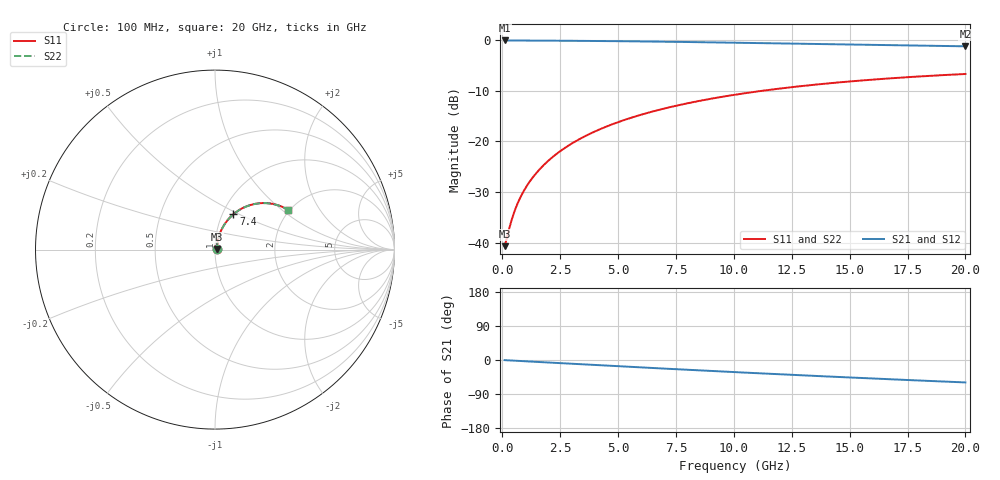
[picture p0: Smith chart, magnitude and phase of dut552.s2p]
! Touchstone file exported from HFSS 2026.1.0
!  File:  C:/ffzhzh/LocalFiles/Ansys_Project_Files/temp_train_BSMRDL_552_1783015174_46388.aedt
!  Generated:  02:01:05 AM Jul  3, 2026
!  Design:  BSMRDL
!  Project:  temp_train_BSMRDL_552_1783015174_46388
! Variables:
!  h_bsmrdl = 2.41um
!  h_ox = 20um
!  h_rdl = 5um
!  h_sub = 80um
!  h_tmrdl = 5um
!  h_tsv = 80um
!  h_via = 3um
!  l_bsmrdl = 949.37um
!  l_sub = 1349.37um
!  l_tmrdl = 200um
!  m_sub = 200um
!  pitch = 34.32um
!  r_tsv = 6um
!  s_tmrdl = 10um
!  w_bsmrdl = 16.37um
!  w_sub = 500um
!  w_tmrdl = 12um
!  x_tsv_center1 = 206um
!  x_tsv_center2 = 1171.74um
!  x_tsv_center3 = 1383.74um
!  x_tsv_center4 = 2349.48um
!  x_tsv_center5 = 2561.48um
!  x_tsv_center6 = 3527.22um
# GHz S MA R 50.000000
! Terminal data exported
! Port[1] = BSM_RDL1_1_T1
! Port[2] = BSM_RDL1_1_T2
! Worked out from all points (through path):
!   200 points, 100 MHz to 20 GHz, reference 50 ohm
!   highest |S21| = -0.07 dB at 100 MHz (marker M1); lowest = -1.2 dB at 20 GHz (marker M2)
!   group delay of S21, straight-line fit = 8.23 ps
!   lowest |S11| = -40.7 dB at 100 MHz (marker M3), VSWR 1.02, Z = 50.9 + j0.358 ohm
!   |S11| at or under -10 dB: start of sweep to 11.24 GHz
!   |S22| runs from -40.7 to -6.7 dB; largest |S21 - S12| = 6e-15
!   S11 on the Smith chart (normalised r, x): 100 MHz: 1.02, +0.01; 7.4 GHz: 1.13, +0.47; 20 GHz: 1.95, +1.11
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0.1  0.009263 22.4  0.9914 -0.4  0.9914 -0.4  0.009263 22.4
! Gamma 0 0 0 0
! Port Impedance 50 0 50 0
0.4  0.01669 55.2  0.9907 -1.4  0.9907 -1.4  0.01669 55.2
0.6  0.02264 62.5  0.9901 -2.1  0.9901 -2.1  0.02264 62.5
0.7  0.02563 64.8  0.9898 -2.4  0.9898 -2.4  0.02563 64.8
0.9  0.03163 67.9  0.9892 -3.1  0.9892 -3.1  0.03163 67.9
1.2  0.04064 70.7  0.9885 -4.0  0.9885 -4.0  0.04064 70.7
1.4  0.04668 71.8  0.9881 -4.7  0.9881 -4.7  0.04668 71.8
1.7  0.05577 72.8  0.9874 -5.7  0.9874 -5.7  0.05578 72.8
2.2  0.071 73.5  0.9862 -7.3  0.9862 -7.3  0.071 73.5
2.8  0.08927 73.2  0.9844 -9.3  0.9844 -9.3  0.08927 73.2
3.5  0.1105 72.3  0.982 -11.5  0.982 -11.5  0.1105 72.2
4.2  0.1314 70.9  0.9791 -13.8  0.9791 -13.8  0.1314 70.8
5  0.1549 69.0  0.9754 -16.4  0.9754 -16.4  0.1549 68.9
5.9  0.1808 66.6  0.9705 -19.2  0.9705 -19.2  0.1808 66.6
6.8  0.2059 64.2  0.9651 -22.1  0.9651 -22.1  0.2059 64.1
7.4  0.2221 62.5  0.9612 -24.0  0.9612 -24.0  0.2221 62.5
8.7  0.256 58.8  0.9522 -27.9  0.9522 -27.9  0.256 58.8
10.1  0.2902 54.9  0.9418 -32.2  0.9418 -32.2  0.2902 54.8
11.7  0.3263 50.4  0.9293 -36.8  0.9293 -36.8  0.3263 50.3
13.4  0.3611 45.7  0.9158 -41.7  0.9158 -41.7  0.3611 45.7
16.7  0.4185 37.0  0.8904 -50.7  0.8904 -50.7  0.4185 36.9
20  0.463 28.7  0.8679 -59.2  0.8679 -59.2  0.463 28.6
